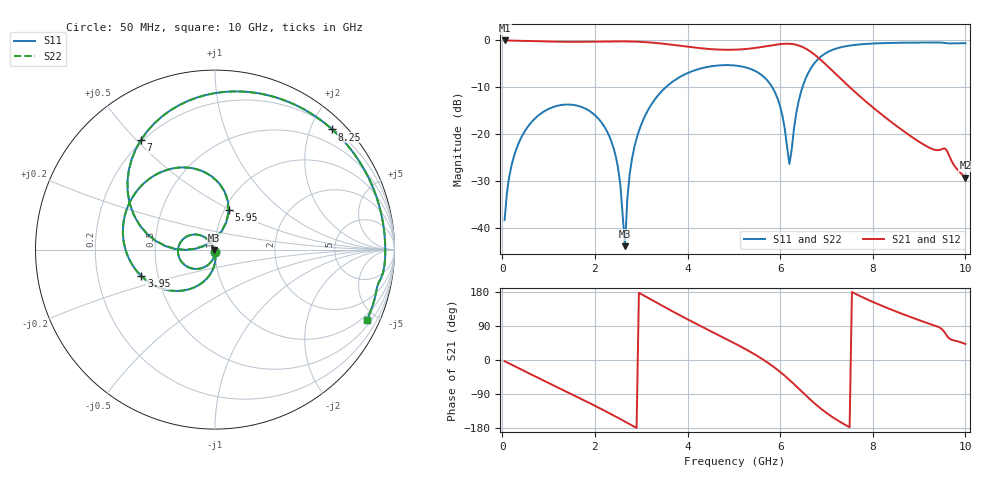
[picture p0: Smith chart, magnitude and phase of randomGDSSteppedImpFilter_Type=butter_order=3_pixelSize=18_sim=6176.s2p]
! freq	dB(S11)	phase(S11)	dB(S12)	phase(S12)
!  dB(S21)	phase(S21)	dB(S22)	phase(S22)
!S-par simulation data
#  GHz  S  DB  R 50
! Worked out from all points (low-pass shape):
!   200 points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, 50 MHz to 10 GHz, reference 50 ohm
!   highest |S21| = -0.02 dB at 50 MHz (marker M1); lowest = -29.3 dB at 10 GHz (marker M2)
!   |S21| within 3 dB of the highest: start of sweep to 6.739 GHz
!   lowest |S11| = -43.9 dB at 2.65 GHz (marker M3), VSWR 1.01, Z = 49.6 - j0.471 ohm
!   |S11| at or under -10 dB: start of sweep to 3.531 GHz; 5.828 GHz to 6.482 GHz (653.9 MHz wide, 10.6 % of centre)
!   |S22| runs from -44.0 to -0.5 dB; largest |S21 - S12| = 0
!   S11 on the Smith chart (normalised r, x): 50 MHz: 1.00, -0.02; 3.95 GHz: 0.40, -0.15; 5.95 GHz: 1.05, +0.49; 7 GHz: 0.19, +0.52; 8.25 GHz: 0.22, +2.35; 10 GHz: 0.74, -4.43
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0.05  -38.32 -84.8  -0.02 -3.1  -0.02 -3.1  -38.32 -84.8
0.2  -26.65 -99.6  -0.05 -12.4  -0.05 -12.4  -26.65 -99.6
0.55  -18.44 -123.1  -0.13 -33.7  -0.13 -33.7  -18.44 -123.1
1.15  -14.06 -159.7  -0.28 -69.6  -0.28 -69.6  -14.06 -159.7
1.75  -14.36 164.6  -0.31 -105.5  -0.31 -105.5  -14.36 164.6
2.4  -22.86 126.1  -0.22 -146.1  -0.22 -146.1  -22.86 126.0
2.55  -30.87 121.4  -0.21 -155.9  -0.21 -155.9  -30.87 121.1
2.65  -43.88 -132.0  -0.22 -162.5  -0.22 -162.5  -44.00 -131.4
2.7  -33.81 -88.9  -0.22 -165.8  -0.22 -165.8  -33.82 -88.5
2.85  -22.84 -90.1  -0.26 -175.9  -0.26 -175.9  -22.84 -89.9
3.4  -11.31 -124.7  -0.64 146.8  -0.64 146.8  -11.31 -124.6
3.95  -7.21 -160.2  -1.30 110.5  -1.30 110.5  -7.21 -160.2
5.05  -5.39 132.4  -1.98 41.9  -1.98 41.9  -5.39 132.5
5.95  -12.55 71.2  -0.86 -26.6  -0.86 -26.6  -12.54 71.6
6.2  -26.37 120.1  -0.73 -52.5  -0.73 -52.5  -26.03 120.3
6.4  -12.94 179.1  -1.10 -75.5  -1.10 -75.5  -12.92 178.6
6.7  -5.40 152.0  -2.72 -109.9  -2.72 -109.9  -5.40 151.9
7  -2.64 124.0  -5.27 -139.6  -5.27 -139.6  -2.64 123.9
7.55  -1.05 83.8  -10.41 179.4  -10.41 179.4  -1.05 83.8
8.25  -0.58 45.7  -16.27 140.4  -16.27 140.4  -0.58 45.7
8.35  -0.56 40.9  -17.04 135.4  -17.04 135.4  -0.56 40.9
10  -0.61 -24.8  -29.29 42.3  -29.29 42.3  -0.61 -24.8
